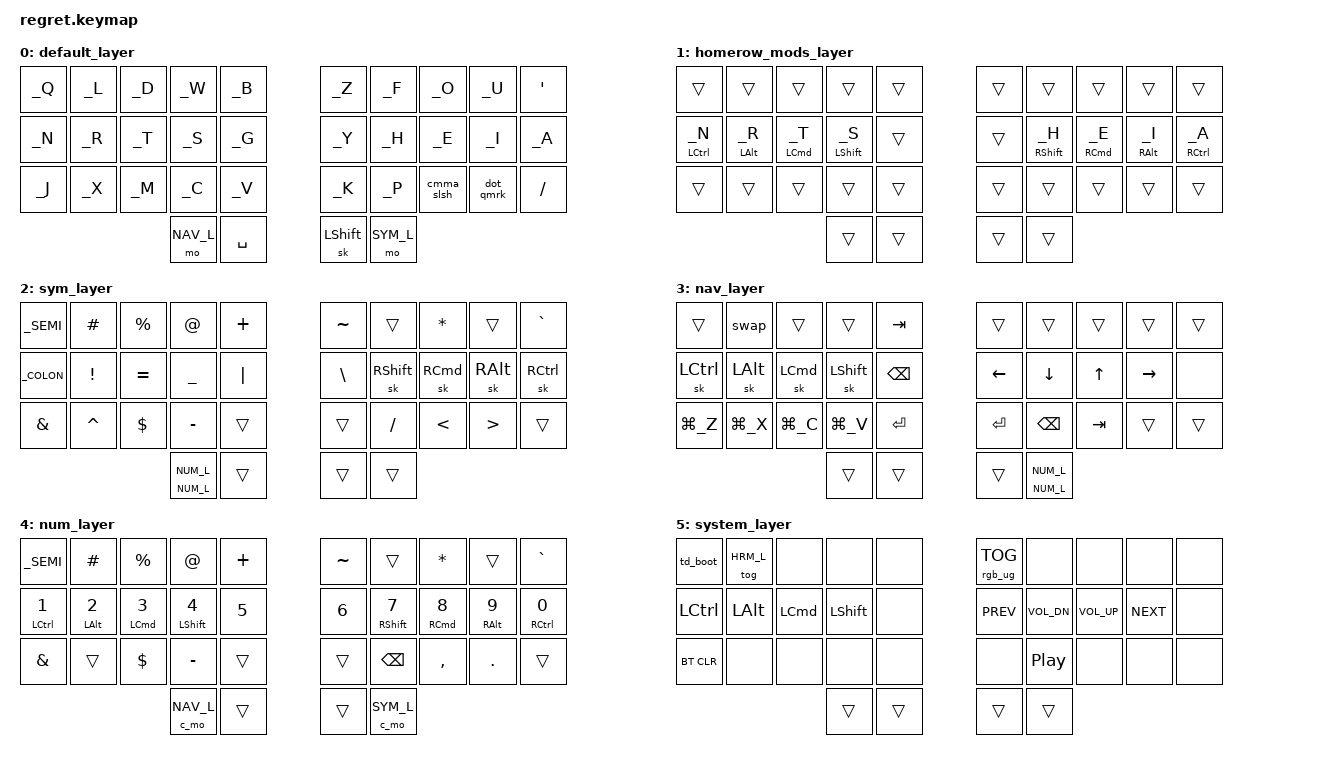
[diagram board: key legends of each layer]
/*
 * Copyright (c) 2022 The ZMK Contributors
 *
 * SPDX-License-Identifier: MIT
 */

#include <behaviors.dtsi>
#include <dt-bindings/zmk/keys.h>
#include <dt-bindings/zmk/rgb.h>
#include <dt-bindings/zmk/bt.h>

// https://github.com/urob/zmk-auto-layer
#include <behaviors/num_word.dtsi>
&num_word {
  ignore-modifiers;
};

// Use Vallium layout but map it in the OS
#ifndef KEYMAP_DRAWER
#include "keys_vallium.h"
#endif

/* Key positions
0  1  2  3  4         5  6  7  8  9
10 11 12 13 14        15 16 17 18 19
20 21 22 23 24        25 26 27 28 29
            30 31  32 33             */

#define KEYS_L 0 1 2 3 4 10 11 12 13 14 20 21 22 23 24
#define KEYS_R 5 6 7 8 9 15 16 17 18 19 25 26 27 28 29
#define KEYS_T 30 31  32 33

#define DEF_L 0
#define HRM_L 1
#define SYM_L 2
#define NAV_L 3
#define NUM_L 4
#define SYS_L 5

#define NON_SYS_LAYERS DEF_L HRM_L SYM_L NAV_L NUM_L

// How long a key must be pressed to trigger Hold behavior
#define HRM_TERM 280
// If you press a tapped hold-tap again within quick-tap-ms milliseconds of the
// first press, it will always trigger the tap behavior
#define HRM_QUICK_TAP 175
// This effectively disables the hold-tap when typing quickly. As a rule of
// thumb, you want to set it to at least 10500/x where x is your (relaxed) WPM
#define HRM_IDLE (10500 / 50)
#define COMBO_IDLE HRM_IDLE

#define STICKY_KEY_TIMEOUT 1000

// Not-so-sticky key, see nk behavior def below
#define SK(KEY) &nk KEY KEY
// Exits num-word
#define CANCEL &kp K_CANCEL

&sk {  // sticky-key config
    release-after-ms = <STICKY_KEY_TIMEOUT>;
    quick-release;
};

/ {
    behaviors {
        hml: homerow_mods_left {
            compatible = "zmk,behavior-hold-tap";
            #binding-cells = <2>;
            flavor = "balanced";
            tapping-term-ms = <HRM_TERM>;
            quick-tap-ms = <HRM_QUICK_TAP>;
            require-prior-idle-ms = <HRM_IDLE>;
            bindings = <&kp>, <&kp>;
            hold-trigger-key-positions = <KEYS_R KEYS_T>;
            hold-trigger-on-release;             // delay positional check until key-release
        };

        hmr: homerow_mods_right {
            compatible = "zmk,behavior-hold-tap";
            #binding-cells = <2>;
            flavor = "balanced";
            tapping-term-ms = <HRM_TERM>;
            quick-tap-ms = <HRM_QUICK_TAP>;
            require-prior-idle-ms = <HRM_IDLE>;
            bindings = <&kp>, <&kp>;
            hold-trigger-key-positions = <KEYS_L KEYS_T>;
            hold-trigger-on-release;             // delay positional check until key-release
        };

        cmma_slsh: comma_slash {
            compatible = "zmk,behavior-mod-morph";
            #binding-cells = <0>;
            bindings = <&kp COMMA>, <&kp FSLH>;
            mods = <(MOD_LSFT|MOD_RSFT)>;
            keep-mods = <(MOD_RSFT)>;
        };

        dot_qmrk: dot_question_mark {
            compatible = "zmk,behavior-mod-morph";
            #binding-cells = <0>;
            bindings = <&kp PERIOD>, <&kp QMARK>;
            mods = <(MOD_LSFT|MOD_RSFT)>;
            keep-mods = <(MOD_RSFT)>;
        };

        td_boot: double_tap_bootloader {
            compatible = "zmk,behavior-tap-dance";
            #binding-cells = <0>;
            tapping-term-ms = <200>;
            bindings = <&none>, <&bootloader>;
        };

        swap: swapper {
            compatible = "zmk,behavior-tri-state";
            #binding-cells = <0>;
            bindings = <&kt LCMD>, <&kp TAB>, <&kt LCMD>;
            // 0 is Q, 32 is shift
            ignored-key-positions = <0 32>;
        };

        #define SMART_NUM &smart_num NUM_L NUM_L
        smart_num: smart_num {
            compatible = "zmk,behavior-hold-tap";
            #binding-cells = <2>;
            flavor = "balanced";
            quick-tap-ms = <HRM_QUICK_TAP>;
            tapping-term-ms = <200>;
            bindings = <&mo>, <&num_word>;
        };
    };

    /* Key positions
    0  1  2  3  4         5  6  7  8  9
    10 11 12 13 14        15 16 17 18 19
    20 21 22 23 24        25 26 27 28 29
                30 31  32 33             */

    combos {
        compatible = "zmk,combos";

        vlbkt { key-positions = <1 11>; bindings = <&kp LBKT>; layers = <NON_SYS_LAYERS>; require-prior-idle-ms = <COMBO_IDLE>; };
        vlpar { key-positions = <2 12>; bindings = <&kp LPAR>; layers = <NON_SYS_LAYERS>; require-prior-idle-ms = <COMBO_IDLE>; };
        vlbrc { key-positions = <3 13>; bindings = <&kp LBRC>; layers = <NON_SYS_LAYERS>; require-prior-idle-ms = <COMBO_IDLE>; };
        vrbrc { key-positions = <6 16>; bindings = <&kp RBRC>; layers = <NON_SYS_LAYERS>; require-prior-idle-ms = <COMBO_IDLE>; };
        vrpar { key-positions = <7 17>; bindings = <&kp RPAR>; layers = <NON_SYS_LAYERS>; require-prior-idle-ms = <COMBO_IDLE>; };
        vrbkt { key-positions = <8 18>; bindings = <&kp RBKT>; layers = <NON_SYS_LAYERS>; require-prior-idle-ms = <COMBO_IDLE>; };

        cw  { key-positions = <20 29>; bindings = <&kp CAPSLOCK>; layers = <DEF_L>; timeout-ms = <100>; };

        ret { key-positions = <6 7 8>; bindings = <&kp RET>; layers = <NON_SYS_LAYERS>; };
        esc { key-positions = <1 2>; bindings = <&kp ESC>; layers = <NON_SYS_LAYERS>; require-prior-idle-ms = <COMBO_IDLE>;};
        // tab { key-positions = <21 22 23>; bindings = <&kp TAB>; layers = <DEF_L HRM_L>; };
        bsp { key-positions = <26 27>; bindings = <&kp BSPC>; layers = <NON_SYS_LAYERS>; require-prior-idle-ms = <COMBO_IDLE>;};

        sall { key-positions = <21 22>; bindings = <&kp LG(_A)>; layers = <NAV_L>; };

        /* Activate system layer on inner thumb press */
        sys { key-positions = <31 32>; bindings = <&mo SYS_L>; require-prior-idle-ms = <COMBO_IDLE>; };
    };

    /*
    conditional_layers {
        compatible = "zmk,conditional-layers";
        tri_layer {
            if-layers = <SYM_L NAV_L>;
            then-layer = <NUM_L>;
        };
    };
    */

    macros {
      ZMK_MACRO(rf_arr, bindings = <&kp EQUAL &kp GT>;)
      ZMK_MACRO(rs_arr, bindings = <&kp MINUS &kp GT>;)
      ZMK_MACRO(lf_arr, bindings = <&kp LT &kp EQUAL>;)
      ZMK_MACRO(ls_arr, bindings = <&kp LT &kp MINUS>;)
      ZMK_MACRO(expipe, bindings = <&kp PIPE &kp GT &kp SPACE>;)
      ZMK_MACRO(eextag, bindings = <&kp LT &kp PRCNT &kp EQUAL &kp SPACE &kp SPACE &kp PRCNT &kp GT &kp LEFT &kp LEFT &kp LEFT>;)

        // Cancels the num-word sticky layer, then activates the given layer
        c_mo: cancel_mo {
            compatible = "zmk,behavior-macro-one-param";
            wait-ms = <0>;
            tap-ms = <0>;
            #binding-cells = <1>;
            bindings
                = <&macro_tap &kp K_CANCEL>
                , <&macro_param_1to1>
                , <&macro_press &mo MACRO_PLACEHOLDER>
                , <&macro_pause_for_release>
                , <&macro_param_1to1>
                , <&macro_release &mo MACRO_PLACEHOLDER>
                ;
        };
    };

    keymap {
        compatible = "zmk,keymap";

        /* Mostly Gallium-v2 but without B on pinky, from:
           https://www.reddit.com/r/KeyboardLayouts/comments/15zu2rn/sturdy_vs_nerps/jxjq139/ */

        default_layer {
            bindings = <
                &kp _Q        &kp _L       &kp _D        &kp _W          &kp _B        &kp _Z           &kp _F          &kp _O       &kp _U       &kp SQT
                &kp _N        &kp _R       &kp _T        &kp _S          &kp _G        &kp _Y           &kp _H          &kp _E       &kp _I       &kp _A
                &kp _J        &kp _X       &kp _M        &kp _C          &kp _V        &kp _K           &kp _P          &cmma_slsh   &dot_qmrk    &kp FSLH
                                                         &mo NAV_L       &kp SPACE     &sk LSHFT        &mo SYM_L
            >;
        };

        /* The idea here is to activate this when using Illustrator/Photoshop */
        homerow_mods_layer {
            bindings = <
                &trans        &trans       &trans        &trans          &trans        &trans           &trans          &trans       &trans       &trans
                &hml LCTRL _N &hml LALT _R &hml LCMD _T  &hml LSHFT _S   &trans        &trans           &hmr RSHFT _H   &hmr RCMD _E &hmr RALT _I &hmr RCTRL _A
                &trans        &trans       &trans        &trans          &trans        &trans           &trans          &trans       &trans       &trans
                                                         &trans          &trans        &trans           &trans
            >;
        };

        sym_layer {
            bindings = <
                &kp _SEMI  &kp HASH   &kp PRCNT   &kp AT          &kp PLUS      &kp TILDE       &trans         &kp STAR    &trans     &kp GRAVE
                &kp _COLON &kp EXCL   &kp EQUAL   &kp UNDER       &kp PIPE      &kp BSLH        &sk RSHFT      &sk RCMD    &sk RALT   &sk RCTRL
                &kp AMPS   &kp CARET  &kp DLLR    &kp MINUS       &trans        &trans          &kp FSLH       &kp LT      &kp GT     &trans
                                                  SMART_NUM       &trans        &trans          &trans
            >;
        };

        nav_layer {
            bindings = <
                &trans      &swap       &trans       &trans          &kp TAB         &trans   &trans         &trans      &trans     &trans
                &sk LCTRL   &sk LALT    &sk LCMD     &sk LSHFT       &kp BSPC        &kp LEFT &kp DOWN       &kp UP      &kp RIGHT  &none
                &kp LG(_Z)  &kp LG(_X)  &kp LG(_C)   &kp LG(_V)      &kp RET         &kp RET  &kp BSPC       &kp TAB     &trans     &trans
                                                     &trans          &trans          &trans   SMART_NUM
            >;
        };

        num_layer {
            bindings = <
                &kp _SEMI     &kp HASH     &kp PRCNT    &kp AT        &kp PLUS      &kp TILDE &trans        &kp STAR     &trans       &kp GRAVE
                &hml LCTRL N1 &hml LALT N2 &hml LCMD N3 &hml LSHFT N4 &kp N5        &kp N6    &hmr RSHFT N7 &hmr RCMD N8 &hmr RALT N9 &hmr RCTRL N0
                &kp AMPS      &trans       &kp DLLR     &kp MINUS     &trans        &trans    &kp BSPC      &kp COMMA    &kp PERIOD   &trans
                                                        &c_mo NAV_L   &trans        &trans    &c_mo SYM_L
            >;
        };

        system_layer {
            bindings = <
                &td_boot   &tog HRM_L &none    &none    &none    &rgb_ug RGB_TOG &none        &none        &none      &none
                &kp LCTRL  &kp LALT   &kp LCMD &kp LSHFT &none   &kp C_PREV      &kp C_VOL_DN &kp C_VOL_UP &kp C_NEXT &none
                &bt BT_CLR &none      &none    &none    &none    &none           &kp C_PP     &none        &none      &none
                                               &trans   &trans    &trans          &trans
            >;
        };
    };
};
